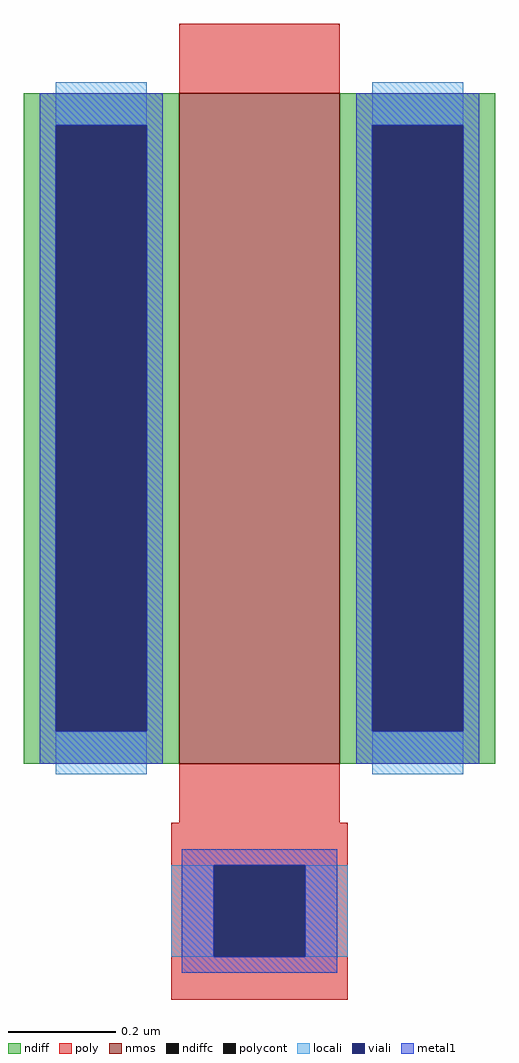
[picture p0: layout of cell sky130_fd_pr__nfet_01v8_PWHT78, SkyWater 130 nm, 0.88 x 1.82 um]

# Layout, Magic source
magic
tech sky130A
magscale 1 2
<< nmos >>
rect -30 -94 30 156
<< ndiff >>
rect -88 144 -30 156
rect -88 -82 -76 144
rect -42 -82 -30 144
rect -88 -94 -30 -82
rect 30 144 88 156
rect 30 -82 42 144
rect 76 -82 88 144
rect 30 -94 88 -82
<< ndiffc >>
rect -76 -82 -42 144
rect 42 -82 76 144
<< poly >>
rect -30 156 30 182
rect -30 -116 30 -94
rect -33 -132 33 -116
rect -33 -166 -17 -132
rect 17 -166 33 -132
rect -33 -182 33 -166
<< polycont >>
rect -17 -166 17 -132
<< locali >>
rect -76 144 -42 160
rect -76 -98 -42 -82
rect 42 144 76 160
rect 42 -98 76 -82
rect -33 -166 -17 -132
rect 17 -166 33 -132
<< viali >>
rect -76 -82 -42 144
rect 42 -82 76 144
rect -17 -166 17 -132
<< metal1 >>
rect -82 144 -36 156
rect -82 -82 -76 144
rect -42 -82 -36 144
rect -82 -94 -36 -82
rect 36 144 82 156
rect 36 -82 42 144
rect 76 -82 82 144
rect 36 -94 82 -82
rect -29 -132 29 -126
rect -29 -166 -17 -132
rect 17 -166 29 -132
rect -29 -172 29 -166
<< properties >>
string gencell sky130_fd_pr__nfet_01v8
string library sky130
string parameters w 1.25 l 0.3 m 1 nf 1 diffcov 100 polycov 100 guard 0 glc 1 grc 1 gtc 1 gbc 1 tbcov 100 rlcov 100 topc 0 botc 1 poverlap 0 doverlap 1 lmin 0.15 wmin 0.42 class mosfet compatible {sky130_fd_pr__nfet_01v8 sky130_fd_pr__nfet_01v8_lvt  sky130_fd_bs_flash__special_sonosfet_star  sky130_fd_pr__nfet_g5v0d10v5 sky130_fd_pr__nfet_05v0_nvt  sky130_fd_pr__nfet_03v3_nvt} full_metal 1 viasrc 100 viadrn 100 viagate 100 viagb 0 viagr 0 viagl 0 viagt 0
<< end >>
